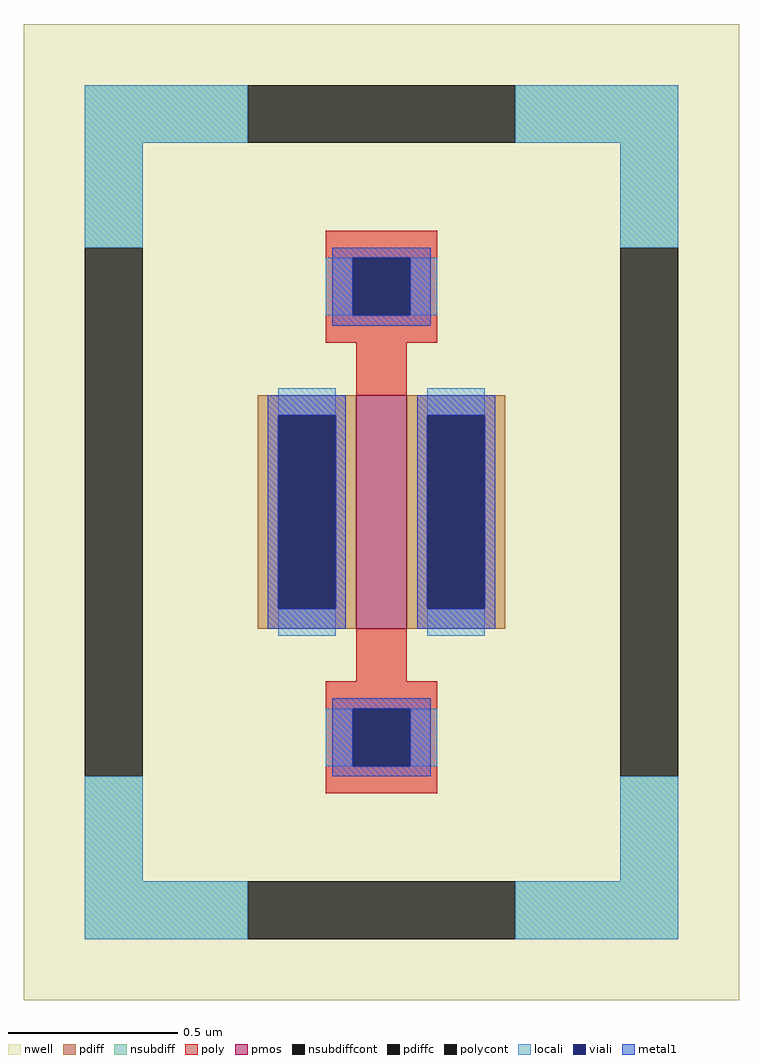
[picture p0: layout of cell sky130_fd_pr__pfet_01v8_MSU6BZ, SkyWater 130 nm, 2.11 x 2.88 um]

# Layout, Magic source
magic
tech sky130A
magscale 1 2
<< nwell >>
rect -211 -288 211 288
<< pmos >>
rect -15 -69 15 69
<< pdiff >>
rect -73 57 -15 69
rect -73 -57 -61 57
rect -27 -57 -15 57
rect -73 -69 -15 -57
rect 15 57 73 69
rect 15 -57 27 57
rect 61 -57 73 57
rect 15 -69 73 -57
<< pdiffc >>
rect -61 -57 -27 57
rect 27 -57 61 57
<< nsubdiff >>
rect -175 218 -79 252
rect 79 218 175 252
rect -175 156 -141 218
rect 141 156 175 218
rect -175 -218 -141 -156
rect 141 -218 175 -156
rect -175 -252 -79 -218
rect 79 -252 175 -218
<< nsubdiffcont >>
rect -79 218 79 252
rect -175 -156 -141 156
rect 141 -156 175 156
rect -79 -252 79 -218
<< poly >>
rect -33 150 33 166
rect -33 116 -17 150
rect 17 116 33 150
rect -33 100 33 116
rect -15 69 15 100
rect -15 -100 15 -69
rect -33 -116 33 -100
rect -33 -150 -17 -116
rect 17 -150 33 -116
rect -33 -166 33 -150
<< polycont >>
rect -17 116 17 150
rect -17 -150 17 -116
<< locali >>
rect -175 218 -79 252
rect 79 218 175 252
rect -175 156 -141 218
rect 141 156 175 218
rect -33 116 -17 150
rect 17 116 33 150
rect -61 57 -27 73
rect -61 -73 -27 -57
rect 27 57 61 73
rect 27 -73 61 -57
rect -33 -150 -17 -116
rect 17 -150 33 -116
rect -175 -218 -141 -156
rect 141 -218 175 -156
rect -175 -252 -79 -218
rect 79 -252 175 -218
<< viali >>
rect -17 116 17 150
rect -61 -57 -27 57
rect 27 -57 61 57
rect -17 -150 17 -116
<< metal1 >>
rect -29 150 29 156
rect -29 116 -17 150
rect 17 116 29 150
rect -29 110 29 116
rect -67 57 -21 69
rect -67 -57 -61 57
rect -27 -57 -21 57
rect -67 -69 -21 -57
rect 21 57 67 69
rect 21 -57 27 57
rect 61 -57 67 57
rect 21 -69 67 -57
rect -29 -116 29 -110
rect -29 -150 -17 -116
rect 17 -150 29 -116
rect -29 -156 29 -150
<< properties >>
string FIXED_BBOX -158 -235 158 235
string gencell sky130_fd_pr__pfet_01v8
string library sky130
string parameters w 0.69 l 0.15 m 1 nf 1 diffcov 100 polycov 100 guard 1 glc 1 grc 1 gtc 1 gbc 1 tbcov 100 rlcov 100 topc 1 botc 1 poverlap 0 doverlap 1 lmin 0.15 wmin 0.42 compatible {sky130_fd_pr__pfet_01v8  sky130_fd_pr__pfet_01v8_lvt sky130_fd_pr__pfet_01v8_hvt  sky130_fd_pr__pfet_g5v0d10v5} full_metal 1 viasrc 100 viadrn 100 viagate 100 viagb 0 viagr 0 viagl 0 viagt 0
<< end >>
